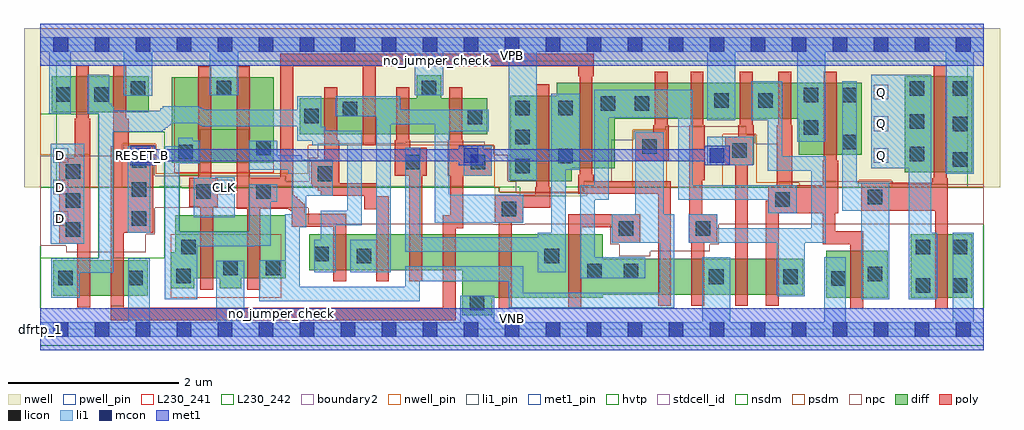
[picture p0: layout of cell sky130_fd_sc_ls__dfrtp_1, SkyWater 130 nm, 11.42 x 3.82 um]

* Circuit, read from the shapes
.subckt sky130_fd_sc_ls__dfrtp_1 CLK D Q RESET_B VGND VNB VPB VPWR
XM1 n1 D n2 VNB sky130_fd_pr__nfet_01v8 w=0.42 l=0.15
XM2 VGND RESET_B n1 VNB sky130_fd_pr__nfet_01v8 w=0.42 l=0.15
XM3 VGND CLK n3 VNB sky130_fd_pr__nfet_01v8 w=0.74 l=0.15
XM4 n4 n3 VGND VNB sky130_fd_pr__nfet_01v8 w=0.74 l=0.15
XM5 n5 n3 n2 VNB sky130_fd_pr__nfet_01v8 w=0.42 l=0.15
XM6 n6 n4 n5 VNB sky130_fd_pr__nfet_01v8 w=0.42 l=0.15
XM7 n7 n8 n6 VNB sky130_fd_pr__nfet_01v8 w=0.42 l=0.15
XM8 VGND RESET_B n7 VNB sky130_fd_pr__nfet_01v8 w=0.42 l=0.15
XM9 n8 n5 VGND VNB sky130_fd_pr__nfet_01v8 w=0.74 l=0.15
XM10 n9 n4 n8 VNB sky130_fd_pr__nfet_01v8 w=0.74 l=0.15
XM11 n10 n3 n9 VNB sky130_fd_pr__nfet_01v8 w=0.42 l=0.15
XM12 VGND n11 n10 VNB sky130_fd_pr__nfet_01v8 w=0.42 l=0.15
XM13 n12 RESET_B VGND VNB sky130_fd_pr__nfet_01v8 w=0.42 l=0.15
XM14 n11 n9 n12 VNB sky130_fd_pr__nfet_01v8 w=0.42 l=0.15
XM15 n13 n9 VGND VNB sky130_fd_pr__nfet_01v8 w=0.55 l=0.15
XM16 VGND n13 Q VNB sky130_fd_pr__nfet_01v8 w=0.74 l=0.15
XM17 n2 D VPWR VPB sky130_fd_pr__pfet_01v8_hvt w=0.42 l=0.15
XM18 VPWR RESET_B n2 VPB sky130_fd_pr__pfet_01v8_hvt w=0.42 l=0.15
XM19 VPWR CLK n3 VPB sky130_fd_pr__pfet_01v8_hvt w=1 l=0.15
XM20 n4 n3 VPWR VPB sky130_fd_pr__pfet_01v8_hvt w=1 l=0.15
XM21 n5 n4 n2 VPB sky130_fd_pr__pfet_01v8_hvt w=0.42 l=0.15
XM22 n14 n3 n5 VPB sky130_fd_pr__pfet_01v8_hvt w=0.42 l=0.15
XM23 VPWR n8 n14 VPB sky130_fd_pr__pfet_01v8_hvt w=0.42 l=0.15
XM24 n5 RESET_B VPWR VPB sky130_fd_pr__pfet_01v8_hvt w=0.42 l=0.15
XM25 n8 n5 VPWR VPB sky130_fd_pr__pfet_01v8_hvt w=1 l=0.15
XM26 n9 n3 n8 VPB sky130_fd_pr__pfet_01v8_hvt w=1 l=0.15
XM27 n15 n4 n9 VPB sky130_fd_pr__pfet_01v8_hvt w=0.42 l=0.15
XM28 VPWR n11 n15 VPB sky130_fd_pr__pfet_01v8_hvt w=0.42 l=0.15
XM29 n11 RESET_B VPWR VPB sky130_fd_pr__pfet_01v8_hvt w=0.42 l=0.15
XM30 VPWR n9 n11 VPB sky130_fd_pr__pfet_01v8_hvt w=0.42 l=0.15
XM31 n13 n9 VPWR VPB sky130_fd_pr__pfet_01v8_hvt w=0.84 l=0.15
XM32 VPWR n13 Q VPB sky130_fd_pr__pfet_01v8_hvt w=1.12 l=0.15
.ends

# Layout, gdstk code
import gdstk
lib = gdstk.Library(unit=1e-6, precision=1e-09)
def R(c, l, rs):  # rectangles x0, y0, x1, y1
    for r in rs: c.add(gdstk.rectangle(r[:2], r[2:], *l))
def A(c, l, x, y, w, h, nx, ny, dx, dy):  # array of equal rectangles
    R(c, l, [(x+i*dx, y+j*dy, x+i*dx+w, y+j*dy+h) for i in range(nx) for j in range(ny)])
def P(c, l, *ps):  # polygons
    for p in ps: c.add(gdstk.Polygon(p, *l))
nwell_pin = (64, 16)
nwell = (64, 20)
diff = (65, 20)
poly = (66, 20)
licon = (66, 44)
li1_pin = (67, 16)
li1 = (67, 20)
mcon = (67, 44)
met1_pin = (68, 16)
met1 = (68, 20)
hvtp = (78, 44)
stdcell_id = (81, 4)
nsdm = (93, 44)
psdm = (94, 20)
npc = (95, 20)
pwell_pin = (122, 16)
L230_241 = (230, 241)
L230_242 = (230, 242)
boundary2 = (236, 0)

sky130_fd_sc_ls__dfrtp_1 = lib.new_cell('sky130_fd_sc_ls__dfrtp_1')
R(sky130_fd_sc_ls__dfrtp_1, nwell_pin, [(0,3.085,11.04,3.33)])
P(sky130_fd_sc_ls__dfrtp_1, nwell, [(11.23,3.52),(-0.19,3.52),(-0.19,1.66),(1.39,1.66),(1.39,1.675),(5.32,1.675),(5.32,1.555),(6.4,1.555),(6.4,1.66),(11.23,1.66)])
R(sky130_fd_sc_ls__dfrtp_1, diff, [(9.195,0.37,9.915,0.92), (10.185,0.37,10.905,1.11), (0.15,0.39,0.89,0.81), (0.89,0.39,1.26,0.81), (3.145,0.69,4.465,1.11), (10.115,1.84,10.905,2.96), (1.54,1.95,2.735,2.95), (0.135,2.54,0.89,2.96), (0.89,2.54,1.27,2.96)])
P(sky130_fd_sc_ls__dfrtp_1, diff, [(2.87,1.335),(1.58,1.335),(1.58,0.9),(1.53,0.9),(1.53,0.48),(1.8,0.48),(1.8,0.595),(2.1,0.595),(2.1,0.48),(2.35,0.48),(2.35,0.595),(2.87,0.595)],
  [(9.615,2.885),(6.045,2.885),(6.045,2.735),(5.5,2.735),(5.5,1.735),(6.22,1.735),(6.22,1.885),(6.725,1.885),(6.725,2.465),(8.875,2.465),(8.875,2.045),(9.615,2.045)],
  [(5.23,2.705),(4.695,2.705),(4.695,2.97),(4.465,2.97),(4.465,2.285),(5.23,2.285)],
  [(8.925,0.825),(6.58,0.825),(6.58,1.11),(4.465,1.11),(4.465,0.69),(4.935,0.69),(4.935,0.165),(5.29,0.165),(5.29,0.37),(6.58,0.37),(6.58,0.405),(8.925,0.405)],
  [(4.465,2.97),(4.405,2.97),(4.405,2.705),(3.035,2.705),(3.035,2.285),(4.465,2.285)])
P(sky130_fd_sc_ls__dfrtp_1, poly, [(7.38,1.735),(6.475,1.735),(6.475,1.81),(6.46,1.81),(6.46,2.96),(6.475,2.96),(6.475,3.225),(4.465,3.225),(4.465,3.075),(6.295,3.075),(6.295,2.96),(6.31,2.96),(6.31,1.81),(6.295,1.81),(6.295,1.585),(7.23,1.585),(7.23,0.275),(7.38,0.275)],
  [(4.52,2.125),(4.465,2.125),(4.465,0.56),(4.47,0.56),(4.47,1.795),(4.52,1.795)],
  [(5.285,2.125),(4.95,2.125),(4.95,2.21),(4.935,2.21),(4.935,2.835),(4.785,2.835),(4.785,2.21),(4.77,2.21),(4.77,1.795),(4.8,1.795),(4.8,1.335),(4.71,1.335),(4.71,0.255),(4.465,0.255),(4.465,0.105),(4.86,0.105),(4.86,1.185),(4.95,1.185),(4.95,1.795),(5.285,1.795)],
  [(0.89,3.09),(0.855,3.09),(0.855,2.14),(0.825,2.14),(0.825,0.105),(0.89,0.105)],
  [(0.585,2.465),(0.57,2.465),(0.57,3.09),(0.42,3.09),(0.42,2.465),(0.405,2.465),(0.405,2.01),(0.22,2.01),(0.22,1),(0.435,1),(0.435,0.26),(0.585,0.26)],
  [(10.62,1.765),(10.605,1.765),(10.605,3.09),(10.455,3.09),(10.455,1.765),(10.44,1.765),(10.44,1.715),(9.605,1.715),(9.605,1.385),(10.47,1.385),(10.47,0.24),(10.62,0.24)],
  [(4.465,3.225),(2.81,3.225),(2.81,1.775),(2.45,1.775),(2.45,3.08),(2.3,3.08),(2.3,1.41),(2.425,1.41),(2.425,0.465),(2.575,0.465),(2.575,1.41),(2.91,1.41),(2.91,1.4),(2.925,1.4),(2.925,1.39),(2.935,1.39),(2.935,1.38),(2.945,1.38),(2.945,1.2),(3.43,1.2),(3.43,0.56),(3.58,0.56),(3.58,1.35),(3.095,1.35),(3.095,1.47),(3.07,1.47),(3.07,1.485),(3.055,1.485),(3.055,1.5),(3.045,1.5),(3.045,1.51),(3.035,1.51),(3.035,1.52),(3.015,1.52),(3.015,1.53),(3.005,1.53),(3.005,1.55),(2.98,1.55),(2.98,1.57),(2.96,1.57),(2.96,3.075),(3.775,3.075),(3.775,2.155),(3.925,2.155),(3.925,3.075),(4.465,3.075)],
  [(5.97,1.66),(5.955,1.66),(5.955,2.865),(5.805,2.865),(5.805,1.66),(5.79,1.66),(5.79,1.575),(5.32,1.575),(5.32,1.245),(5.365,1.245),(5.365,0.24),(5.515,0.24),(5.515,1.245),(5.65,1.245),(5.65,1.425),(5.97,1.425)],
  [(7.02,1.345),(6.18,1.345),(6.18,0.24),(6.33,0.24),(6.33,1.195),(6.69,1.195),(6.69,1.015),(7.02,1.015)],
  [(9.63,1.145),(9.305,1.145),(9.305,1.355),(9.335,1.355),(9.335,1.97),(9.32,1.97),(9.32,3.015),(9.17,3.015),(9.17,1.97),(9.155,1.97),(9.155,1.685),(8.8,1.685),(8.8,2.39),(8.785,2.39),(8.785,3.015),(8.635,3.015),(8.635,2.39),(8.62,2.39),(8.62,1.685),(8.52,1.685),(8.52,1.505),(8.49,1.505),(8.49,0.275),(8.64,0.275),(8.64,1.355),(9.155,1.355),(9.155,0.995),(9.48,0.995),(9.48,0.24),(9.63,0.24)],
  [(8.35,2.39),(8.335,2.39),(8.335,3.015),(8.185,3.015),(8.185,2.39),(8.17,2.39),(8.17,2.255),(8.015,2.255),(8.015,1.925),(8.13,1.925),(8.13,0.275),(8.28,0.275),(8.28,1.925),(8.35,1.925)],
  [(7.355,2.39),(7.34,2.39),(7.34,3.015),(7.19,3.015),(7.19,2.39),(7.175,2.39),(7.175,2.305),(6.965,2.305),(6.965,1.975),(7.355,1.975)],
  [(4.465,0.255),(0.975,0.255),(0.975,1.13),(1.32,1.13),(1.32,2.14),(1.035,2.14),(1.035,2.465),(1.005,2.465),(1.005,3.09),(0.89,3.09),(0.89,0.105),(4.465,0.105)],
  [(4.465,2.125),(4.33,2.125),(4.33,2.21),(4.315,2.21),(4.315,2.835),(4.165,2.835),(4.165,2.21),(4.15,2.21),(4.15,1.795),(4.32,1.795),(4.32,0.56),(4.465,0.56)],
  [(4.08,1.555),(3.94,1.555),(3.94,1.71),(3.5,1.71),(3.5,2.21),(3.475,2.21),(3.475,2.835),(3.325,2.835),(3.325,1.985),(3.17,1.985),(3.17,1.695),(3.18,1.695),(3.18,1.675),(3.19,1.675),(3.19,1.665),(3.21,1.665),(3.21,1.655),(3.245,1.655),(3.245,1.62),(3.285,1.62),(3.285,1.56),(3.79,1.56),(3.79,1.405),(3.93,1.405),(3.93,0.56),(4.08,0.56)],
  [(2.075,1.775),(2,1.775),(2,3.08),(1.85,3.08),(1.85,1.775),(1.745,1.775),(1.745,1.435),(1.875,1.435),(1.875,0.465),(2.025,0.465),(2.025,1.435),(2.075,1.435)],
  [(7.92,1.345),(7.745,1.345),(7.745,1.745),(7.775,1.745),(7.775,2.39),(7.76,2.39),(7.76,3.015),(7.61,3.015),(7.61,2.39),(7.595,2.39),(7.595,1.345),(7.59,1.345),(7.59,1.015),(7.62,1.015),(7.62,0.275),(7.77,0.275),(7.77,1.015),(7.92,1.015)])
A(sky130_fd_sc_ls__dfrtp_1, licon, 0.3, 1.08, 0.17, 0.17, 1, 3, 0, 0.34)
A(sky130_fd_sc_ls__dfrtp_1, licon, 1.07, 1.21, 0.17, 0.17, 1, 3, 0, 0.34)
A(sky130_fd_sc_ls__dfrtp_1, licon, 5.56, 1.825, 0.17, 0.17, 1, 3, 0, 0.34)
A(sky130_fd_sc_ls__dfrtp_1, licon, 10.675, 1.9, 0.17, 0.17, 1, 3, 0, 0.415)
R(sky130_fd_sc_ls__dfrtp_1, licon, [(5.025,0.225,5.195,0.395), (10.245,0.43,10.415,0.6), (10.675,0.43,10.845,0.6), (9.255,0.51,9.425,0.68), (0.21,0.515,0.38,0.685), (1.03,0.515,1.2,0.685), (7.825,0.53,7.995,0.7), (8.695,0.53,8.865,0.7), (1.59,0.54,1.76,0.71), (9.685,0.56,9.855,0.73), (6.4,0.595,6.57,0.765), (6.83,0.595,7,0.765), (2.14,0.63,2.31,0.8), (2.64,0.635,2.81,0.805), (5.9,0.77,6.07,0.94), (3.705,0.775,3.875,0.945), (3.205,0.795,3.375,0.965), (1.65,0.88,1.82,1.05), (10.245,0.88,10.415,1.05), (10.675,0.88,10.845,1.05), (6.77,1.095,6.94,1.265), (7.67,1.095,7.84,1.265), (5.4,1.325,5.57,1.495), (8.6,1.435,8.77,1.605), (9.685,1.465,9.855,1.635), (1.825,1.525,1.995,1.695), (2.525,1.525,2.695,1.695), (3.25,1.735,3.42,1.905), (4.27,1.875,4.44,2.045), (5.035,1.875,5.205,2.045), (6.06,1.945,6.23,2.115), (10.175,1.965,10.345,2.135), (1.615,1.99,1.785,2.16), (8.095,2.005,8.265,2.175), (2.525,2.035,2.695,2.205), (7.045,2.055,7.215,2.225), (9.385,2.105,9.555,2.275), (8.935,2.275,9.105,2.445), (10.175,2.345,10.345,2.515), (5,2.4,5.17,2.57), (3.09,2.41,3.26,2.58), (3.54,2.495,3.71,2.665), (6.06,2.505,6.23,2.675), (6.56,2.555,6.73,2.725), (6.955,2.555,7.125,2.725), (7.885,2.59,8.055,2.76), (8.4,2.59,8.57,2.76), (8.935,2.655,9.105,2.825), (9.385,2.655,9.555,2.825), (0.185,2.665,0.355,2.835), (0.63,2.665,0.8,2.835), (1.06,2.73,1.23,2.9), (10.175,2.73,10.345,2.9), (2.065,2.74,2.235,2.91), (4.465,2.74,4.635,2.91)])
A(sky130_fd_sc_ls__dfrtp_1, li1_pin, 0.155, 1.21, 0.17, 0.17, 1, 3, 0, 0.37)
A(sky130_fd_sc_ls__dfrtp_1, li1_pin, 9.755, 1.95, 0.17, 0.17, 1, 3, 0, 0.37)
R(sky130_fd_sc_ls__dfrtp_1, li1_pin, [(2.075,1.58,2.245,1.75)])
R(sky130_fd_sc_ls__dfrtp_1, li1, [(0,-0.085,0.89,0.085), (0.125,1,0.515,2.17), (1.025,1.13,1.285,2.14), (4.955,1.795,5.285,2.15), (7.805,1.92,8.345,2.255)])
P(sky130_fd_sc_ls__dfrtp_1, li1, [(3.76,2.325),(3.335,2.325),(3.335,2.37),(3.29,2.37),(3.29,2.725),(3.01,2.725),(3.01,2.57),(1.925,2.57),(1.925,2.575),(1.91,2.575),(1.91,2.58),(1.89,2.58),(1.89,2.59),(1.86,2.59),(1.86,2.61),(1.435,2.61),(1.435,2.585),(1.405,2.585),(1.405,2.56),(0.89,2.56),(0.89,2.31),(1.435,2.31),(1.435,2.335),(1.465,2.335),(1.465,2.36),(1.49,2.36),(1.49,2.375),(1.51,2.375),(1.51,2.39),(1.53,2.39),(1.53,2.41),(1.835,2.41),(1.835,2.405),(1.85,2.405),(1.85,2.4),(1.87,2.4),(1.87,2.39),(1.895,2.39),(1.895,2.375),(3.01,2.375),(3.01,2.205),(3.185,2.205),(3.185,2.155),(3.59,2.155),(3.59,1.39),(3.285,1.39),(3.285,1.045),(3.205,1.045),(3.205,0.67),(3.455,0.67),(3.455,1.22),(3.76,1.22)],
  [(7.42,1.345),(7.295,1.345),(7.295,2.305),(6.965,2.305),(6.965,1.345),(6.69,1.345),(6.69,1.015),(7.25,1.015),(7.25,0.425),(5.65,0.425),(5.65,0.735),(4.465,0.735),(4.465,0.565),(5.48,0.565),(5.48,0.255),(7.42,0.255)],
  [(11.04,3.415),(4.465,3.415),(4.465,2.74),(4.715,2.74),(4.715,3.245),(5.48,3.245),(5.48,1.745),(5.81,1.745),(5.81,3.245),(7.805,3.245),(7.805,2.445),(8.135,2.445),(8.135,3.245),(8.855,3.245),(8.855,2.195),(9.185,2.195),(9.185,3.245),(10.595,3.245),(10.595,1.82),(10.925,1.82),(10.925,3.245),(11.04,3.245)],
  [(0.89,3.415),(0,3.415),(0,3.245),(0.105,3.245),(0.105,2.52),(0.355,2.52),(0.355,3.245),(0.89,3.245)],
  [(5.65,1.575),(4.785,1.575),(4.785,2.32),(5.25,2.32),(5.25,2.57),(4.465,2.57),(4.465,2.4),(4.615,2.4),(4.615,1.245),(5.65,1.245)],
  [(11.04,0.085),(10.925,0.085),(10.925,1.13),(10.675,1.13),(10.675,0.085),(9.425,0.085),(9.425,0.845),(9.175,0.845),(9.175,0.085),(8.075,0.085),(8.075,0.845),(7.745,0.845),(7.745,0.085),(5.31,0.085),(5.31,0.395),(4.915,0.395),(4.915,0.085),(4.465,0.085),(4.465,-0.085),(11.04,-0.085)],
  [(6.31,2.755),(5.98,2.755),(5.98,1.13),(5.82,1.13),(5.82,1.075),(4.465,1.075),(4.465,0.905),(5.82,0.905),(5.82,0.665),(6.15,0.665),(6.15,1.865),(6.31,1.865)],
  [(8.85,1.685),(7.635,1.685),(7.635,2.805),(6.48,2.805),(6.48,1.685),(6.32,1.685),(6.32,0.595),(7.08,0.595),(7.08,0.845),(6.49,0.845),(6.49,1.515),(6.65,1.515),(6.65,2.475),(7.465,2.475),(7.465,1.515),(8.52,1.515),(8.52,1.355),(8.85,1.355)],
  [(4.465,0.735),(4.27,0.735),(4.27,0.5),(3.035,0.5),(3.035,1.195),(3.115,1.195),(3.115,1.56),(3.42,1.56),(3.42,1.985),(3.06,1.985),(3.06,2.035),(2.775,2.035),(2.775,2.205),(2.445,2.205),(2.445,1.865),(2.9,1.865),(2.9,1.82),(2.945,1.82),(2.945,1.345),(2.865,1.345),(2.865,0.805),(2.56,0.805),(2.56,0.33),(4.44,0.33),(4.44,0.565),(4.465,0.565)],
  [(10.495,1.13),(10.425,1.13),(10.425,2.98),(9.725,2.98),(9.725,1.885),(10.165,1.885),(10.165,0.35),(10.495,0.35)],
  [(9.19,2.025),(8.685,2.025),(8.685,2.905),(8.32,2.905),(8.32,2.445),(8.515,2.445),(8.515,1.855),(9.02,1.855),(9.02,1.185),(7.92,1.185),(7.92,1.345),(7.59,1.345),(7.59,1.015),(8.615,1.015),(8.615,0.385),(8.945,0.385),(8.945,1.015),(9.19,1.015)],
  [(0.89,2.56),(0.86,2.56),(0.86,2.605),(0.835,2.605),(0.835,2.64),(0.81,2.64),(0.81,2.98),(0.555,2.98),(0.555,2.52),(0.685,2.52),(0.685,0.83),(0.13,0.83),(0.13,0.37),(0.46,0.37),(0.46,0.66),(0.855,0.66),(0.855,2.31),(0.89,2.31)],
  [(4.465,1.075),(4.445,1.075),(4.445,2.125),(4.27,2.125),(4.27,0.905),(4.465,0.905)],
  [(4.465,0.085),(2.39,0.085),(2.39,0.8),(2.06,0.8),(2.06,0.085),(1.28,0.085),(1.28,0.83),(1.03,0.83),(1.03,0.085),(0.89,0.085),(0.89,-0.085),(4.465,-0.085)],
  [(4.465,2.57),(4.215,2.57),(4.215,2.725),(3.46,2.725),(3.46,2.495),(3.93,2.495),(3.93,1.05),(3.625,1.05),(3.625,0.67),(4.1,0.67),(4.1,2.4),(4.465,2.4)],
  [(2.775,1.695),(2.445,1.695),(2.445,1.14),(1.625,1.14),(1.625,1.945),(1.865,1.945),(1.865,2.205),(1.785,2.205),(1.785,2.24),(1.615,2.24),(1.615,2.14),(1.455,2.14),(1.455,0.35),(1.84,0.35),(1.84,0.97),(2.505,0.97),(2.505,0.975),(2.695,0.975),(2.695,1.49),(2.775,1.49)],
  [(2.275,1.78),(2.045,1.78),(2.045,1.775),(1.795,1.775),(1.795,1.31),(2.275,1.31)],
  [(4.465,3.415),(0.89,3.415),(0.89,3.245),(0.98,3.245),(0.98,2.73),(1.31,2.73),(1.31,3.245),(1.985,3.245),(1.985,2.74),(2.315,2.74),(2.315,3.245),(4.385,3.245),(4.385,2.74),(4.465,2.74)],
  [(9.935,1.715),(9.555,1.715),(9.555,2.905),(9.385,2.905),(9.385,1.385),(9.605,1.385),(9.605,0.35),(9.935,0.35)])
A(sky130_fd_sc_ls__dfrtp_1, mcon, 0.155, -0.085, 0.17, 0.17, 23, 2, 0.48, 3.33)
R(sky130_fd_sc_ls__dfrtp_1, mcon, [(1.115,1.95,1.285,2.12), (4.955,1.95,5.125,2.12), (7.835,1.95,8.005,2.12)])
R(sky130_fd_sc_ls__dfrtp_1, met1_pin, [(0,0,11.04,0.245), (1.115,1.95,1.285,2.12), (0,3.085,11.04,3.33)])
R(sky130_fd_sc_ls__dfrtp_1, met1, [(0,-0.245,11.04,0.245), (0,3.085,11.04,3.575)])
P(sky130_fd_sc_ls__dfrtp_1, met1, [(1.345,2.105),(4.895,2.105),(4.895,2.15),(5.185,2.15),(5.185,2.105),(7.775,2.105),(7.775,2.15),(8.065,2.15),(8.065,1.92),(7.775,1.92),(7.775,1.965),(5.185,1.965),(5.185,1.92),(4.895,1.92),(4.895,1.965),(1.345,1.965),(1.345,1.92),(1.055,1.92),(1.055,2.15),(1.345,2.15)])
P(sky130_fd_sc_ls__dfrtp_1, hvtp, [(10.85,3.14),(0.19,3.14),(0.19,1.66),(1.655,1.66),(1.655,1.65),(2.645,1.65),(2.645,1.66),(5.61,1.66),(5.61,1.555),(6.15,1.555),(6.15,1.66),(10.85,1.66)])
R(sky130_fd_sc_ls__dfrtp_1, stdcell_id, [(0,0,11.04,3.33)])
P(sky130_fd_sc_ls__dfrtp_1, nsdm, [(11.04,1.66),(6.35,1.66),(6.35,1.605),(5.37,1.605),(5.37,1.66),(0,1.66),(0,-0.19),(11.04,-0.19)])
P(sky130_fd_sc_ls__dfrtp_1, psdm, [(11.04,3.52),(4.465,3.52),(4.465,2.155),(5.315,2.155),(5.315,1.66),(5.37,1.66),(5.37,1.605),(6.35,1.605),(6.35,1.66),(6.935,1.66),(6.935,2.335),(7.325,2.335),(7.325,1.66),(7.985,1.66),(7.985,2.285),(8.375,2.285),(8.375,1.715),(8.88,1.715),(8.88,1.66),(9.575,1.66),(9.575,1.745),(9.965,1.745),(9.965,1.66),(11.04,1.66)],
  [(0.89,3.52),(0,3.52),(0,2.04),(0.58,2.04),(0.58,1.66),(0.89,1.66)],
  [(4.465,3.52),(0.89,3.52),(0.89,1.66),(0.96,1.66),(0.96,2.17),(1.35,2.17),(1.35,1.82),(3.135,1.82),(3.135,2.155),(4.465,2.155)])
P(sky130_fd_sc_ls__dfrtp_1, npc, [(11.04,1.7),(9.975,1.7),(9.975,1.73),(9.955,1.73),(9.955,1.735),(9.585,1.735),(9.585,1.73),(8.63,1.73),(8.63,2.17),(8.365,2.17),(8.365,2.275),(8.26,2.275),(8.26,2.375),(7.315,2.375),(7.315,2.325),(6.945,2.325),(6.945,2.22),(6.68,2.22),(6.68,1.73),(6.36,1.73),(6.36,1.595),(5.57,1.595),(5.57,1.735),(5.47,1.735),(5.47,2.04),(5.305,2.04),(5.305,2.145),(5.2,2.145),(5.2,2.195),(4.465,2.195),(4.465,1.23),(5.3,1.23),(5.3,1.225),(5.67,1.225),(5.67,1.23),(6.67,1.23),(6.67,0.995),(6.775,0.995),(6.775,0.855),(7.14,0.855),(7.14,0.915),(7.835,0.915),(7.835,0.995),(7.94,0.995),(7.94,1.23),(11.04,1.23)],
  [(0.89,2.03),(0,2.03),(0,0.98),(0.305,0.98),(0.305,0.9),(0.89,0.9)],
  [(4.465,2.195),(4.275,2.195),(4.275,2.175),(3.25,2.175),(3.25,2.005),(3.15,2.005),(3.15,1.73),(2.87,1.73),(2.87,1.795),(1.34,1.795),(1.34,2.16),(0.97,2.16),(0.97,2.03),(0.89,2.03),(0.89,0.9),(1.235,0.9),(1.235,1.11),(1.34,1.11),(1.34,1.425),(3.135,1.425),(3.135,1.23),(4.465,1.23)])
R(sky130_fd_sc_ls__dfrtp_1, pwell_pin, [(0,0,11.04,0.245)])
R(sky130_fd_sc_ls__dfrtp_1, L230_241, [(1.53,0.37,2.82,1.11), (0.125,1,0.515,2.17), (1.025,1.13,1.285,2.14), (1.57,1.83,2.73,2.95)])
P(sky130_fd_sc_ls__dfrtp_1, L230_241, [(1.795,1.31),(1.795,1.64),(2.045,1.64),(2.045,1.78),(2.275,1.78),(2.275,1.31)])
R(sky130_fd_sc_ls__dfrtp_1, L230_242, [(0,0.83,0.685,2.52), (0.855,0.83,1.455,2.31)])
P(sky130_fd_sc_ls__dfrtp_1, L230_242, [(4.86,0.56),(4.71,0.56),(4.71,0.255),(0.975,0.255),(0.975,0.275),(0.825,0.275),(0.825,0.105),(4.86,0.105)],
  [(2.445,2.34),(1.865,2.34),(1.865,1.81),(1.625,1.81),(1.625,1.14),(2.445,1.14)])
R(sky130_fd_sc_ls__dfrtp_1, boundary2, [(0,0,11.04,3.33)])
sky130_fd_sc_ls__dfrtp_1.add(gdstk.Label('dfrtp_1', (0,0), layer=83, texttype=44))
sky130_fd_sc_ls__dfrtp_1.add(gdstk.Label('no_jumper_check', (4.635,3.15), layer=83, texttype=44))
sky130_fd_sc_ls__dfrtp_1.add(gdstk.Label('no_jumper_check', (2.825,0.18), layer=83, texttype=44))
sky130_fd_sc_ls__dfrtp_1.add(gdstk.Label('VNB', (5.52,0.123), layer=64, texttype=59))
sky130_fd_sc_ls__dfrtp_1.add(gdstk.Label('VPB', (5.52,3.208), layer=64, texttype=5))
sky130_fd_sc_ls__dfrtp_1.add(gdstk.Label('RESET_B', (1.2,2.035), layer=68, texttype=5))
sky130_fd_sc_ls__dfrtp_1.add(gdstk.Label('VPWR', (5.52,3.208), layer=68, texttype=5))
sky130_fd_sc_ls__dfrtp_1.add(gdstk.Label('VGND', (5.52,0.123), layer=68, texttype=5))
sky130_fd_sc_ls__dfrtp_1.add(gdstk.Label('Q', (9.84,2.035), layer=67, texttype=5))
sky130_fd_sc_ls__dfrtp_1.add(gdstk.Label('Q', (9.84,2.405), layer=67, texttype=5))
sky130_fd_sc_ls__dfrtp_1.add(gdstk.Label('Q', (9.84,2.775), layer=67, texttype=5))
sky130_fd_sc_ls__dfrtp_1.add(gdstk.Label('CLK', (2.16,1.665), layer=67, texttype=5))
sky130_fd_sc_ls__dfrtp_1.add(gdstk.Label('D', (0.24,1.295), layer=67, texttype=5))
sky130_fd_sc_ls__dfrtp_1.add(gdstk.Label('D', (0.24,1.665), layer=67, texttype=5))
sky130_fd_sc_ls__dfrtp_1.add(gdstk.Label('D', (0.24,2.035), layer=67, texttype=5))

lib.write_gds('sky130_fd_sc_ls__dfrtp_1.gds')
